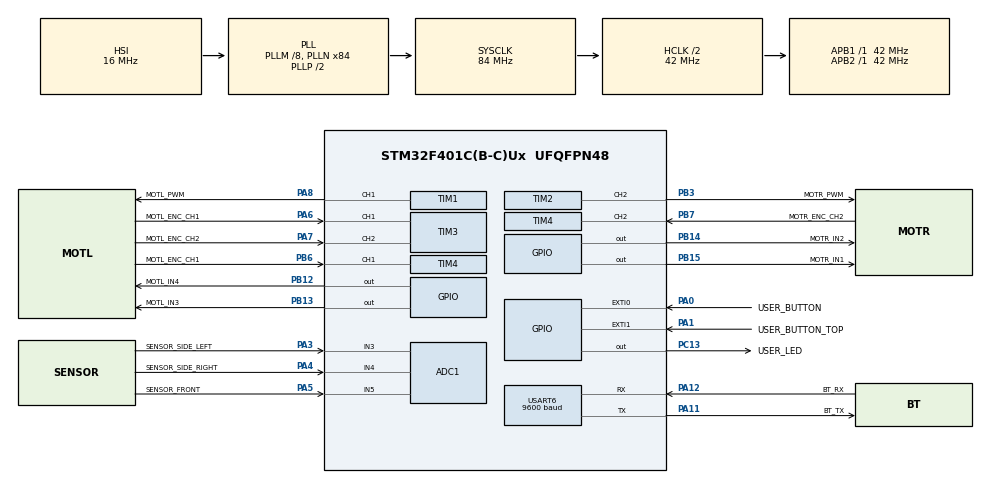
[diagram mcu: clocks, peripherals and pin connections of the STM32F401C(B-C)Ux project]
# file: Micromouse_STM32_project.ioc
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ADC1.Channel-1\#ChannelRegularConversion=ADC_CHANNEL_3
ADC1.Channel-2\#ChannelRegularConversion=ADC_CHANNEL_4
ADC1.Channel-3\#ChannelRegularConversion=ADC_CHANNEL_5
ADC1.ContinuousConvMode=ENABLE
ADC1.DMAContinuousRequests=ENABLE
ADC1.EOCSelection=ADC_EOC_SEQ_CONV
ADC1.NbrOfConversion=3
ADC1.NbrOfConversionFlag=1
ADC1.Rank-1\#ChannelRegularConversion=1
ADC1.Rank-2\#ChannelRegularConversion=2
ADC1.Rank-3\#ChannelRegularConversion=3
ADC1.SamplingTime-1\#ChannelRegularConversion=ADC_SAMPLETIME_144CYCLES
ADC1.SamplingTime-2\#ChannelRegularConversion=ADC_SAMPLETIME_144CYCLES
ADC1.SamplingTime-3\#ChannelRegularConversion=ADC_SAMPLETIME_144CYCLES
ADC1.ScanConvMode=ENABLE
ADC1.master=1
Dma.ADC1.0.Direction=DMA_PERIPH_TO_MEMORY
Dma.ADC1.0.FIFOMode=DMA_FIFOMODE_DISABLE
Dma.ADC1.0.Instance=DMA2_Stream0
Dma.ADC1.0.MemDataAlignment=DMA_MDATAALIGN_WORD
Dma.ADC1.0.MemInc=DMA_MINC_ENABLE
Dma.ADC1.0.Mode=DMA_CIRCULAR
Dma.ADC1.0.PeriphDataAlignment=DMA_PDATAALIGN_WORD
Dma.ADC1.0.PeriphInc=DMA_PINC_DISABLE
Dma.ADC1.0.Priority=DMA_PRIORITY_LOW
Dma.Request0=ADC1
Dma.Request1=USART6_RX
Dma.Request2=USART6_TX
Dma.USART6_RX.1.Direction=DMA_PERIPH_TO_MEMORY
Dma.USART6_RX.1.FIFOMode=DMA_FIFOMODE_DISABLE
Dma.USART6_RX.1.Instance=DMA2_Stream1
Dma.USART6_RX.1.MemDataAlignment=DMA_MDATAALIGN_BYTE
Dma.USART6_RX.1.MemInc=DMA_MINC_ENABLE
Dma.USART6_RX.1.Mode=DMA_NORMAL
Dma.USART6_RX.1.PeriphDataAlignment=DMA_PDATAALIGN_BYTE
Dma.USART6_RX.1.PeriphInc=DMA_PINC_DISABLE
Dma.USART6_RX.1.Priority=DMA_PRIORITY_LOW
Dma.USART6_TX.2.Direction=DMA_MEMORY_TO_PERIPH
Dma.USART6_TX.2.FIFOMode=DMA_FIFOMODE_DISABLE
Dma.USART6_TX.2.Instance=DMA2_Stream6
Dma.USART6_TX.2.MemDataAlignment=DMA_MDATAALIGN_BYTE
Dma.USART6_TX.2.MemInc=DMA_MINC_ENABLE
Dma.USART6_TX.2.Mode=DMA_NORMAL
Dma.USART6_TX.2.PeriphDataAlignment=DMA_PDATAALIGN_BYTE
Dma.USART6_TX.2.PeriphInc=DMA_PINC_DISABLE
Dma.USART6_TX.2.Priority=DMA_PRIORITY_LOW
Mcu.Family=STM32F4
Mcu.Name=STM32F401C(B-C)Ux
Mcu.Package=UFQFPN48
NVIC.ADC_IRQn=true\:0\:0\:false\:false\:true\:true\:true
NVIC.DMA2_Stream0_IRQn=true\:0\:0\:false\:false\:true\:false\:true
NVIC.DMA2_Stream1_IRQn=true\:0\:0\:false\:false\:true\:false\:true
NVIC.DMA2_Stream6_IRQn=true\:0\:0\:false\:false\:true\:false\:true
NVIC.EXTI0_IRQn=true\:0\:0\:false\:false\:true\:true\:true
NVIC.EXTI1_IRQn=true\:0\:0\:false\:false\:true\:true\:true
NVIC.PriorityGroup=NVIC_PRIORITYGROUP_4
NVIC.TIM5_IRQn=true\:0\:0\:false\:false\:true\:true\:true
NVIC.USART6_IRQn=true\:0\:0\:false\:false\:true\:true\:true
PA0-WKUP.GPIO_Label=USER_BUTTON
PA0-WKUP.GPIO_ModeDefaultEXTI=GPIO_MODE_IT_FALLING
PA0-WKUP.GPIO_PuPd=GPIO_PULLUP
PA0-WKUP.Signal=GPXTI0
PA1.GPIO_Label=USER_BUTTON_TOP
PA1.GPIO_ModeDefaultEXTI=GPIO_MODE_IT_FALLING
PA1.GPIO_PuPd=GPIO_PULLUP
PA1.Signal=GPXTI1
PA11.GPIO_Label=BT_TX
PA11.Mode=Asynchronous
PA11.Signal=USART6_TX
PA12.GPIO_Label=BT_RX
PA12.Mode=Asynchronous
PA12.Signal=USART6_RX
PA3.GPIO_Label=SENSOR_SIDE_LEFT
PA3.Signal=ADCx_IN3
PA4.GPIO_Label=SENSOR_SIDE_RIGHT
PA4.Signal=ADCx_IN4
PA5.GPIO_Label=SENSOR_FRONT
PA5.Signal=ADCx_IN5
PA6.GPIO_Label=MOTL_ENC_CH1
PA6.Signal=S_TIM3_CH1
PA7.GPIO_Label=MOTL_ENC_CH2
PA7.Signal=S_TIM3_CH2
PA8.GPIO_Label=MOTL_PWM
PA8.Signal=S_TIM1_CH1
PB12.GPIO_Label=MOTL_IN4
PB12.Signal=GPIO_Output
PB13.GPIO_Label=MOTL_IN3
PB13.Signal=GPIO_Output
PB14.GPIO_Label=MOTR_IN2
PB14.Signal=GPIO_Output
PB15.GPIO_Label=MOTR_IN1
PB15.Signal=GPIO_Output
PB3.GPIO_Label=MOTR_PWM
PB3.Signal=S_TIM2_CH2
PB6.GPIO_Label=MOTL_ENC_CH1
PB6.Signal=S_TIM4_CH1
PB7.GPIO_Label=MOTR_ENC_CH2
PB7.Signal=S_TIM4_CH2
PC13-ANTI_TAMP.GPIO_Label=USER_LED
PC13-ANTI_TAMP.Signal=GPIO_Output
ProjectManager.HeapSize=0x200
ProjectManager.StackSize=0x400
ProjectManager.TargetToolchain=MDK-ARM V5.27
RCC.48MHZClocksFreq_Value=42000000
RCC.AHBCLKDivider=RCC_SYSCLK_DIV2
RCC.AHBFreq_Value=42000000
RCC.APB1Freq_Value=42000000
RCC.APB1TimFreq_Value=42000000
RCC.APB2Freq_Value=42000000
RCC.APB2TimFreq_Value=42000000
RCC.CortexFreq_Value=42000000
RCC.HCLKFreq_Value=42000000
RCC.HSE_VALUE=25000000
RCC.HSI_VALUE=16000000
RCC.LSE_VALUE=32768
RCC.PLLM=8
RCC.PLLN=84
RCC.SYSCLKFreq_VALUE=84000000
RCC.SYSCLKSource=RCC_SYSCLKSOURCE_PLLCLK
RCC.VCOOutputFreq_Value=168000000
SH.ADCx_IN3.0=ADC1_IN3,IN3
SH.ADCx_IN4.0=ADC1_IN4,IN4
SH.ADCx_IN5.0=ADC1_IN5,IN5
SH.S_TIM1_CH1.0=TIM1_CH1,PWM Generation1 CH1
SH.S_TIM2_CH2.0=TIM2_CH2,PWM Generation2 CH2
SH.S_TIM3_CH1.0=TIM3_CH1,Encoder_Interface
SH.S_TIM3_CH2.0=TIM3_CH2,Encoder_Interface
SH.S_TIM4_CH1.0=TIM4_CH1,Encoder_Interface
SH.S_TIM4_CH2.0=TIM4_CH2,Encoder_Interface
TIM1.Channel-PWM\ Generation1\ CH1=TIM_CHANNEL_1
TIM1.Period=1000-1
TIM1.Prescaler=42-1
TIM2.Channel-PWM\ Generation2\ CH2=TIM_CHANNEL_2
TIM2.Period=1000-1
TIM2.Prescaler=42-1
TIM3.EncoderMode=TIM_ENCODERMODE_TI12
TIM3.IC1Filter=15
TIM3.IC2Filter=15
TIM4.EncoderMode=TIM_ENCODERMODE_TI12
TIM4.IC1Filter=15
TIM4.IC2Filter=15
TIM5.Period=1000-1
TIM5.Prescaler=42-1
TIM5.TIM_MasterOutputTrigger=TIM_TRGO_UPDATE
USART6.BaudRate=9600
USART6.VirtualMode=VM_ASYNC
VP_TIM1_VS_ClockSourceINT.Mode=Internal
VP_TIM2_VS_ClockSourceINT.Mode=Internal
VP_TIM5_VS_ClockSourceINT.Mode=Internal
board=custom

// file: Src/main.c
/* USER CODE BEGIN Header */
/**
  ******************************************************************************
  * @file           : main.c
  * @brief          : Main program body
  ******************************************************************************
  * @attention
  *
  * <h2><center>&copy; Copyright (c) 2021 STMicroelectronics.
  * All rights reserved.</center></h2>
  *
  * This software component is licensed by ST under BSD 3-Clause license,
  * the "License"; You may not use this file except in compliance with the
  * License. You may obtain a copy of the License at:
  *                        opensource.org/licenses/BSD-3-Clause
  *
  ******************************************************************************
  */
/* USER CODE END Header */
#include "main.h"

/* USER CODE BEGIN Includes */
#include "Motors.h"
#include "Sensors.h"
#include "Uart.h"

/* USER CODE END Includes */

ADC_HandleTypeDef hadc1;
DMA_HandleTypeDef hdma_adc1;

TIM_HandleTypeDef htim1;
TIM_HandleTypeDef htim2;
TIM_HandleTypeDef htim3;
TIM_HandleTypeDef htim4;
TIM_HandleTypeDef htim5;

UART_HandleTypeDef huart6;
DMA_HandleTypeDef hdma_usart6_rx;
DMA_HandleTypeDef hdma_usart6_tx;

/* USER CODE BEGIN PV */

bool button_state_flag = true, button_interrupt_flag = false; 	// Zmienne obslugujace przerwanie przycisku
uint8_t button_interrupt_ctr = 0;																//

bool logger_flag = false;

volatile uint8_t tick_10ms = 0;
volatile uint8_t tick_200ms = 0;

extern sMOT* pMOT_LEFT;
extern sMOT* pMOT_RIGHT;

extern sMOUSE* pMOUSE;

extern uint8_t Received[6];

/* USER CODE END PV */

void SystemClock_Config(void);
static void MX_GPIO_Init(void);
static void MX_DMA_Init(void);
static void MX_ADC1_Init(void);
static void MX_TIM1_Init(void);
static void MX_TIM2_Init(void);
static void MX_TIM3_Init(void);
static void MX_TIM4_Init(void);
static void MX_TIM5_Init(void);
static void MX_USART6_UART_Init(void);

/* USER CODE BEGIN 0 */
/*

*/
/* USER CODE END 0 */

int main(void)
{

  /* MCU Configuration--------------------------------------------------------*/

  /* Reset of all peripherals, Initializes the Flash interface and the Systick. */
  HAL_Init();

  /* Configure the system clock */
  SystemClock_Config();

  /* Initialize all configured peripherals */
  MX_GPIO_Init();
  MX_DMA_Init();
  MX_ADC1_Init();
  MX_TIM1_Init();
  MX_TIM2_Init();
  MX_TIM3_Init();
  MX_TIM4_Init();
  MX_TIM5_Init();
  MX_USART6_UART_Init();
  /* USER CODE BEGIN 2 */
	HAL_TIM_PWM_Start(&htim1, TIM_CHANNEL_1);
	HAL_TIM_PWM_Start(&htim2, TIM_CHANNEL_2);
	HAL_TIM_Encoder_Start(&htim3, TIM_CHANNEL_ALL); // mot L enc
	HAL_TIM_Encoder_Start(&htim4, TIM_CHANNEL_ALL); // mot R enc
	HAL_TIM_Base_Start_IT(&htim5);
	HAL_ADC_Start_DMA(&hadc1,ADC_buff,3);
	HAL_UART_Receive_DMA(&huart6, Received, 6);

	HAL_GPIO_WritePin(USER_LED_GPIO_Port, USER_LED_Pin, GPIO_PIN_SET);			// zgaszenie diody

	PID_INIT(4.0f, 8.0f, 0.01f, pMOT_LEFT);
	PID_INIT(4.0f, 8.0f, 0.01f, pMOT_RIGHT);
	MOUSE_INIT();
	MOUSE_INIT();

  /* USER CODE END 2 */

  /* Infinite loop */
  while (1)
  {

  }
}

void SystemClock_Config(void)
{
  RCC_OscInitTypeDef RCC_OscInitStruct = {0};
  RCC_ClkInitTypeDef RCC_ClkInitStruct = {0};

  /** Configure the main internal regulator output voltage
  */
  __HAL_RCC_PWR_CLK_ENABLE();
  __HAL_PWR_VOLTAGESCALING_CONFIG(PWR_REGULATOR_VOLTAGE_SCALE2);
  /** Initializes the RCC Oscillators according to the specified parameters
  * in the RCC_OscInitTypeDef structure.
  */
  RCC_OscInitStruct.OscillatorType = RCC_OSCILLATORTYPE_HSI;
  RCC_OscInitStruct.HSIState = RCC_HSI_ON;
  RCC_OscInitStruct.HSICalibrationValue = RCC_HSICALIBRATION_DEFAULT;
  RCC_OscInitStruct.PLL.PLLState = RCC_PLL_ON;
  RCC_OscInitStruct.PLL.PLLSource = RCC_PLLSOURCE_HSI;
  RCC_OscInitStruct.PLL.PLLM = 8;
  RCC_OscInitStruct.PLL.PLLN = 84;
  RCC_OscInitStruct.PLL.PLLP = RCC_PLLP_DIV2;
  RCC_OscInitStruct.PLL.PLLQ = 4;
  if (HAL_RCC_OscConfig(&RCC_OscInitStruct) != HAL_OK)
  {
    Error_Handler();
  }
  /** Initializes the CPU, AHB and APB buses clocks
  */
  RCC_ClkInitStruct.ClockType = RCC_CLOCKTYPE_HCLK|RCC_CLOCKTYPE_SYSCLK
                              |RCC_CLOCKTYPE_PCLK1|RCC_CLOCKTYPE_PCLK2;
  RCC_ClkInitStruct.SYSCLKSource = RCC_SYSCLKSOURCE_PLLCLK;
  RCC_ClkInitStruct.AHBCLKDivider = RCC_SYSCLK_DIV2;
  RCC_ClkInitStruct.APB1CLKDivider = RCC_HCLK_DIV1;
  RCC_ClkInitStruct.APB2CLKDivider = RCC_HCLK_DIV1;

  if (HAL_RCC_ClockConfig(&RCC_ClkInitStruct, FLASH_LATENCY_1) != HAL_OK)
  {
    Error_Handler();
  }
}

static void MX_ADC1_Init(void)
{

  ADC_ChannelConfTypeDef sConfig = {0};

  /** Configure the global features of the ADC (Clock, Resolution, Data Alignment and number of conversion)
  */
  hadc1.Instance = ADC1;
  hadc1.Init.ClockPrescaler = ADC_CLOCK_SYNC_PCLK_DIV2;
  hadc1.Init.Resolution = ADC_RESOLUTION_12B;
  hadc1.Init.ScanConvMode = ENABLE;
  hadc1.Init.ContinuousConvMode = ENABLE;
  hadc1.Init.DiscontinuousConvMode = DISABLE;
  hadc1.Init.ExternalTrigConvEdge = ADC_EXTERNALTRIGCONVEDGE_NONE;
  hadc1.Init.ExternalTrigConv = ADC_SOFTWARE_START;
  hadc1.Init.DataAlign = ADC_DATAALIGN_RIGHT;
  hadc1.Init.NbrOfConversion = 3;
  hadc1.Init.DMAContinuousRequests = ENABLE;
  hadc1.Init.EOCSelection = ADC_EOC_SEQ_CONV;
  if (HAL_ADC_Init(&hadc1) != HAL_OK)
  {
    Error_Handler();
  }
  /** Configure for the selected ADC regular channel its corresponding rank in the sequencer and its sample time.
  */
  sConfig.Channel = ADC_CHANNEL_3;
  sConfig.Rank = 1;
  sConfig.SamplingTime = ADC_SAMPLETIME_144CYCLES;
  if (HAL_ADC_ConfigChannel(&hadc1, &sConfig) != HAL_OK)
  {
    Error_Handler();
  }
  /** Configure for the selected ADC regular channel its corresponding rank in the sequencer and its sample time.
  */
  sConfig.Channel = ADC_CHANNEL_4;
  sConfig.Rank = 2;
  if (HAL_ADC_ConfigChannel(&hadc1, &sConfig) != HAL_OK)
  {
    Error_Handler();
  }
  /** Configure for the selected ADC regular channel its corresponding rank in the sequencer and its sample time.
  */
  sConfig.Channel = ADC_CHANNEL_5;
  sConfig.Rank = 3;
  if (HAL_ADC_ConfigChannel(&hadc1, &sConfig) != HAL_OK)
  {
    Error_Handler();
  }

}

static void MX_TIM1_Init(void)
{

  TIM_ClockConfigTypeDef sClockSourceConfig = {0};
  TIM_MasterConfigTypeDef sMasterConfig = {0};
  TIM_OC_InitTypeDef sConfigOC = {0};
  TIM_BreakDeadTimeConfigTypeDef sBreakDeadTimeConfig = {0};

  htim1.Instance = TIM1;
  htim1.Init.Prescaler = 5-1;
  htim1.Init.CounterMode = TIM_COUNTERMODE_UP;
  htim1.Init.Period = 1000-1;
  htim1.Init.ClockDivision = TIM_CLOCKDIVISION_DIV1;
  htim1.Init.RepetitionCounter = 0;
  htim1.Init.AutoReloadPreload = TIM_AUTORELOAD_PRELOAD_DISABLE;
  if (HAL_TIM_Base_Init(&htim1) != HAL_OK)
  {
    Error_Handler();
  }
  sClockSourceConfig.ClockSource = TIM_CLOCKSOURCE_INTERNAL;
  if (HAL_TIM_ConfigClockSource(&htim1, &sClockSourceConfig) != HAL_OK)
  {
    Error_Handler();
  }
  if (HAL_TIM_PWM_Init(&htim1) != HAL_OK)
  {
    Error_Handler();
  }
  sMasterConfig.MasterOutputTrigger = TIM_TRGO_RESET;
  sMasterConfig.MasterSlaveMode = TIM_MASTERSLAVEMODE_DISABLE;
  if (HAL_TIMEx_MasterConfigSynchronization(&htim1, &sMasterConfig) != HAL_OK)
  {
    Error_Handler();
  }
  sConfigOC.OCMode = TIM_OCMODE_PWM1;
  sConfigOC.Pulse = 0;
  sConfigOC.OCPolarity = TIM_OCPOLARITY_HIGH;
  sConfigOC.OCNPolarity = TIM_OCNPOLARITY_HIGH;
  sConfigOC.OCFastMode = TIM_OCFAST_DISABLE;
  sConfigOC.OCIdleState = TIM_OCIDLESTATE_RESET;
  sConfigOC.OCNIdleState = TIM_OCNIDLESTATE_RESET;
  if (HAL_TIM_PWM_ConfigChannel(&htim1, &sConfigOC, TIM_CHANNEL_1) != HAL_OK)
  {
    Error_Handler();
  }
  sBreakDeadTimeConfig.OffStateRunMode = TIM_OSSR_DISABLE;
  sBreakDeadTimeConfig.OffStateIDLEMode = TIM_OSSI_DISABLE;
  sBreakDeadTimeConfig.LockLevel = TIM_LOCKLEVEL_OFF;
  sBreakDeadTimeConfig.DeadTime = 0;
  sBreakDeadTimeConfig.BreakState = TIM_BREAK_DISABLE;
  sBreakDeadTimeConfig.BreakPolarity = TIM_BREAKPOLARITY_HIGH;
  sBreakDeadTimeConfig.AutomaticOutput = TIM_AUTOMATICOUTPUT_DISABLE;
  if (HAL_TIMEx_ConfigBreakDeadTime(&htim1, &sBreakDeadTimeConfig) != HAL_OK)
  {
    Error_Handler();
  }
  HAL_TIM_MspPostInit(&htim1);

}

static void MX_TIM2_Init(void)
{

  TIM_ClockConfigTypeDef sClockSourceConfig = {0};
  TIM_MasterConfigTypeDef sMasterConfig = {0};
  TIM_OC_InitTypeDef sConfigOC = {0};

  htim2.Instance = TIM2;
  htim2.Init.Prescaler = 5-1;
  htim2.Init.CounterMode = TIM_COUNTERMODE_UP;
  htim2.Init.Period = 1000-1;
  htim2.Init.ClockDivision = TIM_CLOCKDIVISION_DIV1;
  htim2.Init.AutoReloadPreload = TIM_AUTORELOAD_PRELOAD_DISABLE;
  if (HAL_TIM_Base_Init(&htim2) != HAL_OK)
  {
    Error_Handler();
  }
  sClockSourceConfig.ClockSource = TIM_CLOCKSOURCE_INTERNAL;
  if (HAL_TIM_ConfigClockSource(&htim2, &sClockSourceConfig) != HAL_OK)
  {
    Error_Handler();
  }
  if (HAL_TIM_PWM_Init(&htim2) != HAL_OK)
  {
    Error_Handler();
  }
  sMasterConfig.MasterOutputTrigger = TIM_TRGO_RESET;
  sMasterConfig.MasterSlaveMode = TIM_MASTERSLAVEMODE_DISABLE;
  if (HAL_TIMEx_MasterConfigSynchronization(&htim2, &sMasterConfig) != HAL_OK)
  {
    Error_Handler();
  }
  sConfigOC.OCMode = TIM_OCMODE_PWM1;
  sConfigOC.Pulse = 0;
  sConfigOC.OCPolarity = TIM_OCPOLARITY_HIGH;
  sConfigOC.OCFastMode = TIM_OCFAST_DISABLE;
  if (HAL_TIM_PWM_ConfigChannel(&htim2, &sConfigOC, TIM_CHANNEL_2) != HAL_OK)
  {
    Error_Handler();
  }
  HAL_TIM_MspPostInit(&htim2);

}

static void MX_TIM3_Init(void)
{

  TIM_Encoder_InitTypeDef sConfig = {0};
  TIM_MasterConfigTypeDef sMasterConfig = {0};

  htim3.Instance = TIM3;
  htim3.Init.Prescaler = 0;
  htim3.Init.CounterMode = TIM_COUNTERMODE_UP;
  htim3.Init.Period = 65535;
  htim3.Init.ClockDivision = TIM_CLOCKDIVISION_DIV1;
  htim3.Init.AutoReloadPreload = TIM_AUTORELOAD_PRELOAD_DISABLE;
  sConfig.EncoderMode = TIM_ENCODERMODE_TI12;
  sConfig.IC1Polarity = TIM_ICPOLARITY_RISING;
  sConfig.IC1Selection = TIM_ICSELECTION_DIRECTTI;
  sConfig.IC1Prescaler = TIM_ICPSC_DIV1;
  sConfig.IC1Filter = 15;
  sConfig.IC2Polarity = TIM_ICPOLARITY_RISING;
  sConfig.IC2Selection = TIM_ICSELECTION_DIRECTTI;
  sConfig.IC2Prescaler = TIM_ICPSC_DIV1;
  sConfig.IC2Filter = 15;
  if (HAL_TIM_Encoder_Init(&htim3, &sConfig) != HAL_OK)
  {
    Error_Handler();
  }
  sMasterConfig.MasterOutputTrigger = TIM_TRGO_RESET;
  sMasterConfig.MasterSlaveMode = TIM_MASTERSLAVEMODE_DISABLE;
  if (HAL_TIMEx_MasterConfigSynchronization(&htim3, &sMasterConfig) != HAL_OK)
  {
    Error_Handler();
  }

}

static void MX_TIM4_Init(void)
{

  TIM_Encoder_InitTypeDef sConfig = {0};
  TIM_MasterConfigTypeDef sMasterConfig = {0};

  htim4.Instance = TIM4;
  htim4.Init.Prescaler = 0;
  htim4.Init.CounterMode = TIM_COUNTERMODE_UP;
  htim4.Init.Period = 65535;
  htim4.Init.ClockDivision = TIM_CLOCKDIVISION_DIV1;
  htim4.Init.AutoReloadPreload = TIM_AUTORELOAD_PRELOAD_DISABLE;
  sConfig.EncoderMode = TIM_ENCODERMODE_TI12;
  sConfig.IC1Polarity = TIM_ICPOLARITY_RISING;
  sConfig.IC1Selection = TIM_ICSELECTION_DIRECTTI;
  sConfig.IC1Prescaler = TIM_ICPSC_DIV1;
  sConfig.IC1Filter = 15;
  sConfig.IC2Polarity = TIM_ICPOLARITY_RISING;
  sConfig.IC2Selection = TIM_ICSELECTION_DIRECTTI;
  sConfig.IC2Prescaler = TIM_ICPSC_DIV1;
  sConfig.IC2Filter = 15;
  if (HAL_TIM_Encoder_Init(&htim4, &sConfig) != HAL_OK)
  {
    Error_Handler();
  }
  sMasterConfig.MasterOutputTrigger = TIM_TRGO_RESET;
  sMasterConfig.MasterSlaveMode = TIM_MASTERSLAVEMODE_DISABLE;
  if (HAL_TIMEx_MasterConfigSynchronization(&htim4, &sMasterConfig) != HAL_OK)
  {
    Error_Handler();
  }

}

static void MX_TIM5_Init(void)
{

  TIM_ClockConfigTypeDef sClockSourceConfig = {0};
  TIM_MasterConfigTypeDef sMasterConfig = {0};

  htim5.Instance = TIM5;
  htim5.Init.Prescaler = 42-1;
  htim5.Init.CounterMode = TIM_COUNTERMODE_UP;
  htim5.Init.Period = 1000-1;
  htim5.Init.ClockDivision = TIM_CLOCKDIVISION_DIV1;
  htim5.Init.AutoReloadPreload = TIM_AUTORELOAD_PRELOAD_DISABLE;
  if (HAL_TIM_Base_Init(&htim5) != HAL_OK)
  {
    Error_Handler();
  }
  sClockSourceConfig.ClockSource = TIM_CLOCKSOURCE_INTERNAL;
  if (HAL_TIM_ConfigClockSource(&htim5, &sClockSourceConfig) != HAL_OK)
  {
    Error_Handler();
  }
  sMasterConfig.MasterOutputTrigger = TIM_TRGO_UPDATE;
  sMasterConfig.MasterSlaveMode = TIM_MASTERSLAVEMODE_DISABLE;
  if (HAL_TIMEx_MasterConfigSynchronization(&htim5, &sMasterConfig) != HAL_OK)
  {
    Error_Handler();
  }

}

static void MX_USART6_UART_Init(void)
{

  huart6.Instance = USART6;
  huart6.Init.BaudRate = 9600;
  huart6.Init.WordLength = UART_WORDLENGTH_8B;
  huart6.Init.StopBits = UART_STOPBITS_1;
  huart6.Init.Parity = UART_PARITY_NONE;
  huart6.Init.Mode = UART_MODE_TX_RX;
  huart6.Init.HwFlowCtl = UART_HWCONTROL_NONE;
  huart6.Init.OverSampling = UART_OVERSAMPLING_16;
  if (HAL_UART_Init(&huart6) != HAL_OK)
  {
    Error_Handler();
  }

}

static void MX_DMA_Init(void)
{

  /* DMA controller clock enable */
  __HAL_RCC_DMA2_CLK_ENABLE();

  /* DMA interrupt init */
  /* DMA2_Stream0_IRQn interrupt configuration */
  HAL_NVIC_SetPriority(DMA2_Stream0_IRQn, 0, 0);
  HAL_NVIC_EnableIRQ(DMA2_Stream0_IRQn);
  /* DMA2_Stream1_IRQn interrupt configuration */
  HAL_NVIC_SetPriority(DMA2_Stream1_IRQn, 0, 0);
  HAL_NVIC_EnableIRQ(DMA2_Stream1_IRQn);
  /* DMA2_Stream6_IRQn interrupt configuration */
  HAL_NVIC_SetPriority(DMA2_Stream6_IRQn, 0, 0);
  HAL_NVIC_EnableIRQ(DMA2_Stream6_IRQn);

}

static void MX_GPIO_Init(void)
{
  GPIO_InitTypeDef GPIO_InitStruct = {0};

  /* GPIO Ports Clock Enable */
  __HAL_RCC_GPIOC_CLK_ENABLE();
  __HAL_RCC_GPIOA_CLK_ENABLE();
  __HAL_RCC_GPIOB_CLK_ENABLE();

  /*Configure GPIO pin Output Level */
  HAL_GPIO_WritePin(USER_LED_GPIO_Port, USER_LED_Pin, GPIO_PIN_RESET);

  /*Configure GPIO pin Output Level */
  HAL_GPIO_WritePin(GPIOB, MOTL_IN4_Pin|MOTL_IN3_Pin|MOTR_IN2_Pin|MOTR_IN1_Pin, GPIO_PIN_RESET);

  /*Configure GPIO pin : USER_LED_Pin */
  GPIO_InitStruct.Pin = USER_LED_Pin;
  GPIO_InitStruct.Mode = GPIO_MODE_OUTPUT_PP;
  GPIO_InitStruct.Pull = GPIO_NOPULL;
  GPIO_InitStruct.Speed = GPIO_SPEED_FREQ_LOW;
  HAL_GPIO_Init(USER_LED_GPIO_Port, &GPIO_InitStruct);

  /*Configure GPIO pins : USER_BUTTON_Pin USER_BUTTON_TOP_Pin */
  GPIO_InitStruct.Pin = USER_BUTTON_Pin|USER_BUTTON_TOP_Pin;
  GPIO_InitStruct.Mode = GPIO_MODE_IT_FALLING;
  GPIO_InitStruct.Pull = GPIO_PULLUP;
  HAL_GPIO_Init(GPIOA, &GPIO_InitStruct);

  /*Configure GPIO pins : MOTL_IN4_Pin MOTL_IN3_Pin MOTR_IN2_Pin MOTR_IN1_Pin */
  GPIO_InitStruct.Pin = MOTL_IN4_Pin|MOTL_IN3_Pin|MOTR_IN2_Pin|MOTR_IN1_Pin;
  GPIO_InitStruct.Mode = GPIO_MODE_OUTPUT_PP;
  GPIO_InitStruct.Pull = GPIO_NOPULL;
  GPIO_InitStruct.Speed = GPIO_SPEED_FREQ_LOW;
  HAL_GPIO_Init(GPIOB, &GPIO_InitStruct);

  /* EXTI interrupt init*/
  HAL_NVIC_SetPriority(EXTI0_IRQn, 0, 0);
  HAL_NVIC_EnableIRQ(EXTI0_IRQn);

  HAL_NVIC_SetPriority(EXTI1_IRQn, 0, 0);
  HAL_NVIC_EnableIRQ(EXTI1_IRQn);

}

/* USER CODE BEGIN 4 */
void HAL_GPIO_EXTI_Callback(uint16_t GPIO_Pin)									// ################## przerwanie od przycisku (debouncing) ############################################################################################################
{
  /* Prevent unused argument(s) compilation warning */
  UNUSED(GPIO_Pin);
  /* NOTE: This function Should not be modified, when the callback is needed,
           the HAL_GPIO_EXTI_Callback could be implemented in the user file
   */

	if(GPIO_Pin == USER_BUTTON_Pin && button_state_flag == true){
		button_interrupt_flag = true;
		button_state_flag = false;
	}
	if(GPIO_Pin == USER_BUTTON_TOP_Pin && button_state_flag == true){
		button_interrupt_flag = 1;
		button_state_flag = false;
	}

}
void USER_BUTTON_Action(void)																		// #################	funkcja wywolywana (w systick) po nacisnieciu przycisku
{

	// #######		Instrukcje po pierwszym nacisnieciu przycisku

	// #######

	// #######		Instrukcje po drugim nacisnieciu przycisku (interrupt_ctr == 2)

	if(button_interrupt_ctr >= 2)
	{

		button_interrupt_ctr = 0;
	}

	// #######
}
void HAL_TIM_PeriodElapsedCallback(TIM_HandleTypeDef *htim)				// ################## przerwanie od TIMera aby uzyskac przerwanie co 1ms  ######################################################
{
  /* Prevent unused argument(s) compilation warning */
 //UNUSED(htim);

  /* NOTE : This function should not be modified, when the callback is needed,
            the HAL_TIM_PeriodElapsedCallback could be implemented in the user file
   */

		tick_10ms++;
		tick_200ms++;

		if(tick_10ms >= 10)
		{

			MOUSE_MAIN();

			tick_10ms = 0;
		}

		if(tick_200ms >= 200)
		{
			if(logger_flag == true) DATA_LOGGER_POS();

			tick_200ms = 0;
		}
}
/* USER CODE END 4 */

void Error_Handler(void)
{
  __disable_irq();
  while (1)
  {
  }
}

/************************ (C) COPYRIGHT STMicroelectronics *****END OF FILE****/
